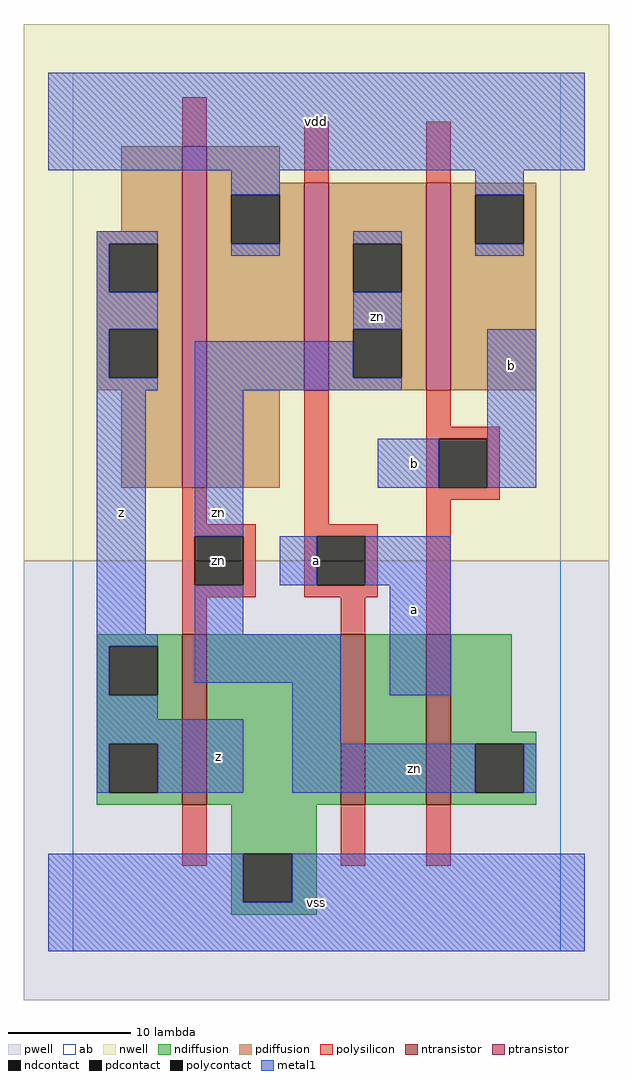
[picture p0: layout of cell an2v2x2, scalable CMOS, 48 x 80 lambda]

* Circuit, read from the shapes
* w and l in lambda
.subckt an2v2x2 a b vdd vss z zn
M1 vss zn z VSUBS nfet w=14 l=2
M2 n1 a vss VSUBS nfet w=14 l=2
M3 zn b n1 VSUBS nfet w=14 l=2
M4 vdd zn z n2 pfet w=28 l=2
M5 zn a vdd n2 pfet w=17 l=2
M6 vdd b zn n2 pfet w=17 l=2
.ends

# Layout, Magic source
magic
tech scmos
<< ab >>
rect 0 0 40 72
<< pwell >>
rect -4 -4 44 32
<< nwell >>
rect -4 32 44 76
<< polysilicon >>
rect 9 66 11 70
rect 19 63 21 68
rect 29 63 31 68
rect 9 35 11 38
rect 19 35 21 46
rect 29 43 31 46
rect 29 42 35 43
rect 29 38 30 42
rect 34 38 35 42
rect 29 37 35 38
rect 9 34 15 35
rect 9 30 10 34
rect 14 30 15 34
rect 9 29 15 30
rect 19 34 25 35
rect 19 30 20 34
rect 24 30 25 34
rect 19 29 25 30
rect 9 26 11 29
rect 22 26 24 29
rect 29 26 31 37
rect 9 7 11 12
rect 22 7 24 12
rect 29 7 31 12
<< ndiffusion >>
rect 2 25 9 26
rect 2 21 3 25
rect 7 21 9 25
rect 2 17 9 21
rect 2 13 3 17
rect 7 13 9 17
rect 2 12 9 13
rect 11 12 22 26
rect 24 12 29 26
rect 31 18 36 26
rect 31 17 38 18
rect 31 13 33 17
rect 37 13 38 17
rect 31 12 38 13
rect 13 8 20 12
rect 13 4 14 8
rect 18 4 20 8
rect 13 3 20 4
<< pdiffusion >>
rect 4 59 9 66
rect 2 58 9 59
rect 2 54 3 58
rect 7 54 9 58
rect 2 51 9 54
rect 2 47 3 51
rect 7 47 9 51
rect 2 46 9 47
rect 4 38 9 46
rect 11 63 17 66
rect 11 62 19 63
rect 11 58 13 62
rect 17 58 19 62
rect 11 46 19 58
rect 21 58 29 63
rect 21 54 23 58
rect 27 54 29 58
rect 21 51 29 54
rect 21 47 23 51
rect 27 47 29 51
rect 21 46 29 47
rect 31 62 38 63
rect 31 58 33 62
rect 37 58 38 62
rect 31 46 38 58
rect 11 38 17 46
<< metal1 >>
rect -2 64 42 72
rect 13 62 17 64
rect 2 58 7 59
rect 2 54 3 58
rect 33 62 37 64
rect 13 57 17 58
rect 23 58 27 59
rect 2 51 7 54
rect 2 47 3 51
rect 33 57 37 58
rect 23 51 27 54
rect 2 46 7 47
rect 10 47 23 50
rect 10 46 27 47
rect 2 26 6 46
rect 10 34 14 46
rect 25 38 30 42
rect 34 38 38 51
rect 17 30 20 34
rect 24 30 31 34
rect 10 26 14 30
rect 2 25 7 26
rect 2 21 3 25
rect 10 22 22 26
rect 2 19 7 21
rect 2 17 14 19
rect 2 13 3 17
rect 7 13 14 17
rect 18 17 22 22
rect 26 21 31 30
rect 18 13 33 17
rect 37 13 38 17
rect -2 4 14 8
rect 18 4 42 8
rect -2 0 42 4
<< ntransistor >>
rect 9 12 11 26
rect 22 12 24 26
rect 29 12 31 26
<< ptransistor >>
rect 9 38 11 66
rect 19 46 21 63
rect 29 46 31 63
<< polycontact >>
rect 30 38 34 42
rect 10 30 14 34
rect 20 30 24 34
<< ndcontact >>
rect 3 21 7 25
rect 3 13 7 17
rect 33 13 37 17
rect 14 4 18 8
<< pdcontact >>
rect 3 54 7 58
rect 3 47 7 51
rect 13 58 17 62
rect 23 54 27 58
rect 23 47 27 51
rect 33 58 37 62
<< labels >>
rlabel polycontact 12 32 12 32 6 zn
rlabel metal1 4 36 4 36 6 z
rlabel metal1 12 16 12 16 6 z
rlabel metal1 12 36 12 36 6 zn
rlabel metal1 20 4 20 4 6 vss
rlabel metal1 20 32 20 32 6 a
rlabel metal1 28 28 28 28 6 a
rlabel metal1 28 40 28 40 6 b
rlabel metal1 25 52 25 52 6 zn
rlabel metal1 20 68 20 68 6 vdd
rlabel metal1 28 15 28 15 6 zn
rlabel metal1 36 48 36 48 6 b
<< end >>
